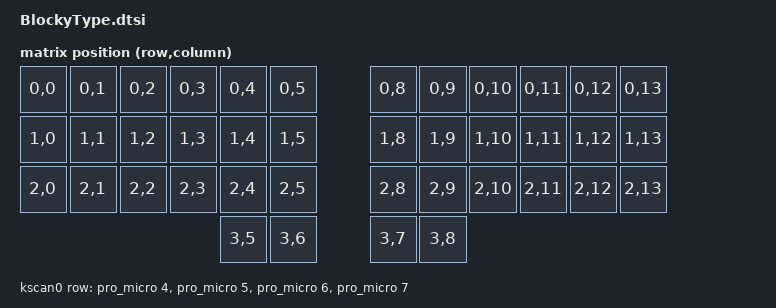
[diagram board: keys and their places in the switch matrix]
#include <dt-bindings/zmk/matrix_transform.h> // Put this with the other includes at the top of your dtsi

/ {
    chosen {
        zmk,kscan = &kscan0;
        zmk,matrix_transform = &default_transform;
    };


    default_transform: keymap_transform0 {
        compatible = "zmk,matrix-transform";
        columns = <14>;
        rows = <4>;
        map = <
        //  LKey 1  |LKey 2  |LKey 3  |LKey 4  |LKey 5  |LKey 6                        RKey 6  |RKey 5  |RKey 4  |RKey 3  |RKey 2  |RKey 1
            RC(0,0)  RC(0,1)  RC(0,2)  RC(0,3)  RC(0,4)  RC(0,5)                       RC(0,8)  RC(0,9)  RC(0,10) RC(0,11) RC(0,12) RC(0,13)
        //  LKey 7  |LKey 8  |LKey 9  |LKey 10 |LKey 11 |LKey 12                       RKey 12 |RKey 11 |RKey 10 |RKey 9  |RKey 8  |RKey 7
            RC(1,0)  RC(1,1)  RC(1,2)  RC(1,3)  RC(1,4)  RC(1,5)                       RC(1,8)  RC(1,9)  RC(1,10) RC(1,11) RC(1,12) RC(1,13)
        //  LKey 13 |LKey 14 |LKey 15 |LKey 16 |LKey 17 |LKey 18                       RKey 18 |RKey 17 |RKey 16 |RKey 15 |RKey 14 |RKey 13
            RC(2,0)  RC(2,1)  RC(2,2)  RC(2,3)  RC(2,4)  RC(2,5)                       RC(2,8)  RC(2,9)  RC(2,10) RC(2,11) RC(2,12) RC(2,13)
        //                                              |LKey 19 |LKey 20     RKey 20 |RKey 19
                                                         RC(3,5)  RC(3,6)     RC(3,7)  RC(3,8)
        >;
    };


    kscan0: kscan0 {
        compatible = "zmk,kscan-gpio-matrix";
        diode-direction = "col2row";
        wakeup-source;

        row-gpios
            = <&pro_micro 4 (GPIO_ACTIVE_HIGH | GPIO_PULL_DOWN)>
            , <&pro_micro 5 (GPIO_ACTIVE_HIGH | GPIO_PULL_DOWN)>
            , <&pro_micro 6 (GPIO_ACTIVE_HIGH | GPIO_PULL_DOWN)>
            , <&pro_micro 7 (GPIO_ACTIVE_HIGH | GPIO_PULL_DOWN)>
            ;

    };
};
